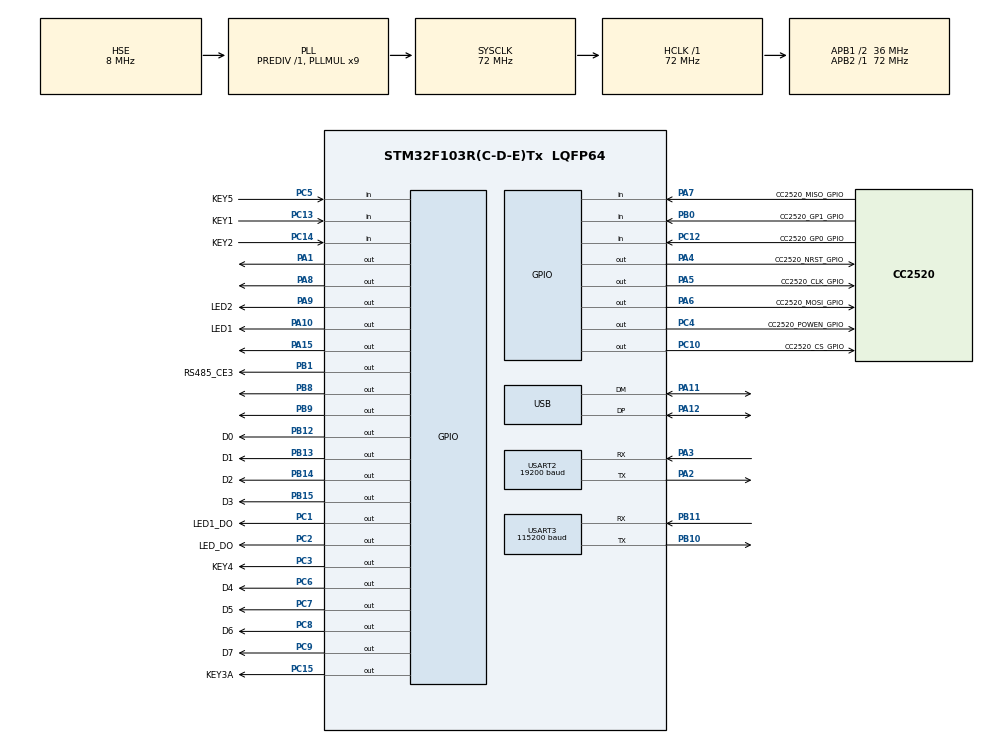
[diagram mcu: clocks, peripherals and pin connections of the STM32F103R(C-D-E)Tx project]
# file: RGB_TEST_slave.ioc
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Mcu.Family=STM32F1
Mcu.Name=STM32F103R(C-D-E)Tx
Mcu.Package=LQFP64
NVIC.PriorityGroup=NVIC_PRIORITYGROUP_4
NVIC.TIM2_IRQn=true\:2\:0\:true\:false\:true\:true\:true
NVIC.TIM3_IRQn=true\:0\:0\:false\:false\:true\:true\:true
NVIC.TIM4_IRQn=true\:0\:0\:false\:false\:true\:true\:true
NVIC.USART3_IRQn=true\:0\:0\:false\:false\:true\:true\:true
PA1.Signal=GPIO_Output
PA10.GPIO_Label=LED1
PA10.Signal=GPIO_Output
PA11.Mode=Device
PA11.Signal=USB_DM
PA12.Mode=Device
PA12.Signal=USB_DP
PA13.Mode=Serial_Wire
PA13.Signal=SYS_JTMS-SWDIO
PA14.Mode=Serial_Wire
PA14.Signal=SYS_JTCK-SWCLK
PA15.Signal=GPIO_Output
PA2.Mode=Asynchronous
PA2.Signal=USART2_TX
PA3.Mode=Asynchronous
PA3.Signal=USART2_RX
PA4.GPIO_Label=CC2520_NRST_GPIO
PA4.GPIO_Speed=GPIO_SPEED_FREQ_HIGH
PA4.PinState=GPIO_PIN_SET
PA4.Signal=GPIO_Output
PA5.GPIO_Label=CC2520_CLK_GPIO
PA5.GPIO_Speed=GPIO_SPEED_FREQ_HIGH
PA5.PinState=GPIO_PIN_SET
PA5.Signal=GPIO_Output
PA6.GPIO_Label=CC2520_MOSI_GPIO
PA6.GPIO_Speed=GPIO_SPEED_FREQ_HIGH
PA6.PinState=GPIO_PIN_SET
PA6.Signal=GPIO_Output
PA7.GPIO_Label=CC2520_MISO_GPIO
PA7.Signal=GPIO_Input
PA8.Signal=GPIO_Output
PA9.GPIO_Label=LED2
PA9.Signal=GPIO_Output
PB0.GPIO_Label=CC2520_GP1_GPIO
PB0.GPIO_PuPd=GPIO_NOPULL
PB0.Signal=GPIO_Input
PB1.GPIO_Label=RS485_CE3
PB1.GPIO_Speed=GPIO_SPEED_FREQ_HIGH
PB1.PinState=GPIO_PIN_SET
PB1.Signal=GPIO_Output
PB10.Mode=Asynchronous
PB10.Signal=USART3_TX
PB11.Mode=Asynchronous
PB11.Signal=USART3_RX
PB12.GPIO_Label=D0
PB12.GPIO_Speed=GPIO_SPEED_FREQ_HIGH
PB12.PinState=GPIO_PIN_SET
PB12.Signal=GPIO_Output
PB13.GPIO_Label=D1
PB13.GPIO_Speed=GPIO_SPEED_FREQ_HIGH
PB13.PinState=GPIO_PIN_SET
PB13.Signal=GPIO_Output
PB14.GPIO_Label=D2
PB14.GPIO_Speed=GPIO_SPEED_FREQ_HIGH
PB14.PinState=GPIO_PIN_SET
PB14.Signal=GPIO_Output
PB15.GPIO_Label=D3
PB15.GPIO_Speed=GPIO_SPEED_FREQ_HIGH
PB15.PinState=GPIO_PIN_SET
PB15.Signal=GPIO_Output
PB8.Signal=GPIO_Output
PB9.Signal=GPIO_Output
PC1.GPIO_Label=LED1_DO
PC1.GPIO_Speed=GPIO_SPEED_FREQ_HIGH
PC1.PinState=GPIO_PIN_SET
PC1.Signal=GPIO_Output
PC10.GPIO_Label=CC2520_CS_GPIO
PC10.GPIO_Speed=GPIO_SPEED_FREQ_HIGH
PC10.PinState=GPIO_PIN_SET
PC10.Signal=GPIO_Output
PC12.GPIO_Label=CC2520_GP0_GPIO
PC12.GPIO_PuPd=GPIO_NOPULL
PC12.Signal=GPIO_Input
PC13-TAMPER-RTC.GPIO_Label=KEY1
PC13-TAMPER-RTC.Signal=GPIO_Input
PC14-OSC32_IN.GPIO_Label=KEY2
PC14-OSC32_IN.Signal=GPIO_Input
PC15-OSC32_OUT.GPIO_Label=KEY3A
PC15-OSC32_OUT.GPIO_Speed=GPIO_SPEED_FREQ_HIGH
PC15-OSC32_OUT.PinState=GPIO_PIN_SET
PC15-OSC32_OUT.Signal=GPIO_Output
PC2.GPIO_Label=LED_DO
PC2.GPIO_Speed=GPIO_SPEED_FREQ_HIGH
PC2.PinState=GPIO_PIN_SET
PC2.Signal=GPIO_Output
PC3.GPIO_Label=KEY4
PC3.GPIO_Speed=GPIO_SPEED_FREQ_HIGH
PC3.PinState=GPIO_PIN_SET
PC3.Signal=GPIO_Output
PC4.GPIO_Label=CC2520_POWEN_GPIO
PC4.Signal=GPIO_Output
PC5.GPIO_Label=KEY5
PC5.Signal=GPIO_Input
PC6.GPIO_Label=D4
PC6.GPIO_Speed=GPIO_SPEED_FREQ_HIGH
PC6.PinState=GPIO_PIN_SET
PC6.Signal=GPIO_Output
PC7.GPIO_Label=D5
PC7.GPIO_Speed=GPIO_SPEED_FREQ_HIGH
PC7.PinState=GPIO_PIN_SET
PC7.Signal=GPIO_Output
PC8.GPIO_Label=D6
PC8.GPIO_Speed=GPIO_SPEED_FREQ_HIGH
PC8.PinState=GPIO_PIN_SET
PC8.Signal=GPIO_Output
PC9.GPIO_Label=D7
PC9.GPIO_Speed=GPIO_SPEED_FREQ_HIGH
PC9.PinState=GPIO_PIN_SET
PC9.Signal=GPIO_Output
PD0-OSC_IN.Mode=HSE-External-Oscillator
PD0-OSC_IN.Signal=RCC_OSC_IN
PD1-OSC_OUT.Mode=HSE-External-Oscillator
PD1-OSC_OUT.Signal=RCC_OSC_OUT
ProjectManager.HeapSize=0x200
ProjectManager.StackSize=0x400
ProjectManager.TargetToolchain=STM32CubeIDE
RCC.AHBFreq_Value=72000000
RCC.APB1CLKDivider=RCC_HCLK_DIV2
RCC.APB1Freq_Value=36000000
RCC.APB1TimFreq_Value=72000000
RCC.APB2Freq_Value=72000000
RCC.APB2TimFreq_Value=72000000
RCC.HCLKFreq_Value=72000000
RCC.PLLMUL=RCC_PLL_MUL9
RCC.PLLSourceVirtual=RCC_PLLSOURCE_HSE
RCC.SYSCLKFreq_VALUE=72000000
RCC.SYSCLKSource=RCC_SYSCLKSOURCE_PLLCLK
RCC.USBFreq_Value=48000000
RCC.USBPrescaler=RCC_USBCLKSOURCE_PLL_DIV1_5
TIM2.Period=200-1
TIM2.Prescaler=7200-1
TIM3.Period=200-1
TIM3.Prescaler=7200-1
TIM4.Period=200-1
TIM4.Prescaler=7200-1
TIM5.Period=200-1
TIM5.Prescaler=7200-1
USART2.BaudRate=19200
USART2.VirtualMode=VM_ASYNC
USART3.BaudRate=115200
USART3.VirtualMode=VM_ASYNC
VP_TIM2_VS_ClockSourceINT.Mode=Internal
VP_TIM3_VS_ClockSourceINT.Mode=Internal
VP_TIM4_VS_ClockSourceINT.Mode=Internal
VP_TIM5_VS_ClockSourceINT.Mode=Internal
board=custom

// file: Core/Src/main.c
/* USER CODE BEGIN Header */
/**
  ******************************************************************************
  * @file           : main.c
  * @brief          : Main program body
  ******************************************************************************
  * @attention
  *
  * <h2><center>&copy; Copyright (c) 2020 STMicroelectronics.
  * All rights reserved.</center></h2>
  *
  * This software component is licensed by ST under BSD 3-Clause license,
  * the "License"; You may not use this file except in compliance with the
  * License. You may obtain a copy of the License at:
  *                        opensource.org/licenses/BSD-3-Clause
  *
  ******************************************************************************
  */
/* USER CODE END Header */

#include "main.h"
#include "tim.h"
#include "usart.h"
#include "usb.h"
#include "gpio.h"

/* USER CODE BEGIN Includes */
#include "main.h"
#include "tim.h"
#include "usart.h"
#include "usb.h"
#include "gpio.h"
#include "CC2520.h"

#define KEY1_1 (GPIO_ReadInputDataBit(GPIOC, GPIO_Pin_13)==1)    //Êý¾ÝÊäÈë
#define KEY1_0 (GPIO_ReadInputDataBit(GPIOC, GPIO_Pin_13)==0)    //Êý¾ÝÊäÈë

#define KEY2_1 (GPIO_ReadInputDataBit(GPIOC, GPIO_Pin_14)==1)    //Êý¾ÝÊäÈë
#define KEY2_0 (GPIO_ReadInputDataBit(GPIOC, GPIO_Pin_14)==0)    //Êý¾ÝÊäÈë

#define SET_KEY3_1   GPIOC->ODR|=1<<15
#define SET_KEY3_0   GPIOC->ODR&=(~(1<<15))

#define SET_KEY4_1   GPIOC->ODR|=1<<3
#define SET_KEY4_0   GPIOC->ODR&=(~(1<<3))
/* USER CODE END Includes */

/* USER CODE BEGIN PTD */
/* Private variables ---------------------------------------------------------*/

uint8_t aTxStartMessage[10] ={0X55,0X55,0X55,0X55,0X55,0XAA,0XAA,0XAA,0XAA,0XAA};
uint8_t Send_buf[8] = {0} ;
uint8_t Rx_count_UART1,Rx_count_UART2,Rx_count_UART3,Rx_count_UART4;
uint8_t Rxbuff1[32],Rxbuff2[32],Rxbuff3[200];
uint8_t Rxbuff4[13]={0X55,0XAA,0X55,0X55,0X55,0XAA,0XAA,0XAA,0XAA,0XAA,0XAA,0XAA,0XA5};
/* Buffer used for reception */
uint8_t aRxBuffer[32],bRxBuffer[200],cRxBuffer[200],dRxBuffer[13];
uint8_t Rx_Num_UART1,Rx_Num_UART2,Rx_Num_UART3,Rx_Num_UART4;
uint8_t TX_LEN,Rx_LEN;
uint8_t R_BIT,G_BIT,B_BIT,i,j=0,delta_RG,delta_GB,delta_BX;
uint8_t R_DATA[3],G_DATA[3],B_DATA[3];
void IOT_PROCESS(void);

uint8_t TX_BUFF_WENXIN[7]={0XA5,0X5A,0X03,0X02,0X01,0X01,0X06};

volatile	_byte8	g_u8Flag1,g_u8Flag2;
/* USER CODE END PTD */

/* USER CODE BEGIN PD */
/* Private variables ---------------------------------------------------------*/
TIM_HandleTypeDef htim1;
TIM_HandleTypeDef htim2;
TIM_HandleTypeDef htim3;
TIM_HandleTypeDef htim4;
TIM_HandleTypeDef htim5;
TIM_HandleTypeDef htim6;

UART_HandleTypeDef huart4;
UART_HandleTypeDef huart1;
UART_HandleTypeDef huart2;
UART_HandleTypeDef huart3;

/* USER CODE END PD */

/* USER CODE BEGIN PM */
extern const unsigned char gImage_Peaks_logo[40968];
extern const unsigned char gImage_3[216];
extern const unsigned char gImage_8[216];
extern const unsigned char gImage_9[216];
/* USER CODE END PM */

void SystemClock_Config(void);
/* USER CODE BEGIN PFP */
uint8_t tim2_counter;
uint16_t time_1ms;
/* USER CODE END PFP */

/* USER CODE BEGIN 0 */

typedef uint8_t u8;
typedef uint32_t u32;
u8 fac_us;

void delay_init(u8 SYSCLK)
{
    #if SYSTEM_SUPPORT_OS
        u32 reload;
    #endif

    HAL_SYSTICK_CLKSourceConfig(SYSTICK_CLKSOURCE_HCLK);
    //SysTick  HCLK
    fac_us=SYSCLK;              // OS,fac_us

    #if SYSTEM_SUPPORT_OS       // OS.
        reload=SYSCLK;
        reload*=1000000/delay_ostickspersec;    //delay_ostickspersec
        //reload 24Bit 16777216, 180M 0.745s
        fac_ms=1000/delay_ostickspersec;        // OS.
        SysTick->CTRL|=SysTick_CTRL_TICKINT_Msk;// SYSTICK
        SysTick->LOAD=reload;                   // 1/OS_TICKS_PER_SEC
        SysTick->CTRL|=SysTick_CTRL_ENABLE_Msk; // SYSTICK
        #else
    #endif
}

void delay_us1(u32 nus)
{
    u32 ticks;
    u32 told,tnow,tcnt=0;
    u32 reload=SysTick->LOAD;                   //LOAD
    ticks=nus*fac_us;
    told=SysTick->VAL;
    while(1)
    {
        tnow=SysTick->VAL;
        if(tnow!=told)
        {
            if(tnow<told)tcnt+=told-tnow;       // SYSTICK.
            else tcnt+=reload-tnow+told;
            told=tnow;
            if(tcnt>=ticks)break;
        }
    }
}
uint8	g_u8Time20ms_1,g_u8Time20ms_2,g_u8Time20ms_3,g_u8Time20ms_4,g_u8Time20ms_5,g_u8Time20ms_6,g_u8Time20ms_7;
uint16_t time3_20ms=0;
uint16_t cc2520_rx_cycle;
//uchar fre_set,fre_set_temp, fre_set_change ;
/* USER CODE END 0 */

int main(void)
{
  /* USER CODE BEGIN 1 */
	//uint16_t i;
  /* USER CODE END 1 */

  /* MCU Configuration--------------------------------------------------------*/

  /* Reset of all peripherals, Initializes the Flash interface and the Systick. */
  HAL_Init();

  /* Configure the system clock */
  SystemClock_Config();

  /* Initialize all configured peripherals */
  MX_GPIO_Init();
  MX_TIM2_Init();
  MX_TIM4_Init();
  MX_USART2_UART_Init();
  MX_USART3_UART_Init();
  MX_TIM3_Init();
  MX_USB_PCD_Init();
  MX_TIM5_Init();
  /* USER CODE BEGIN 2 */
  //HAL_TIM_Base_Start_IT(&htim2);
  HAL_TIM_Base_Start_IT(&htim3);
  HAL_TIM_Base_Start_IT(&htim4);
  RR=0; GG=0; BB=0;
  FLAG_RECEIVE_OK1=1;
  fre_set=0;
  HAL_UART_Receive_IT(&huart3,(uint8_t *)cRxBuffer,13); //
 // delay_init(72);

  reset_ws2812();
  reset_ws2812_1();
  RGB_close1();
  RGB_close();
  /*
  HAL_GPIO_WritePin(RS485_CE3_GPIO_Port, RS485_CE3_Pin, GPIO_PIN_SET);
  HAL_Delay(2);//延时大概 1mS

  HAL_UART_Transmit_IT(&huart3, (uint8_t *)TX_BUFF_WENXIN, sizeof(TX_BUFF_WENXIN)); //发�?�此帧数�???????????????????????????????????????
	while(HAL_UART_Transmit_IT(&huart3, (uint8_t *)TX_BUFF_WENXIN, sizeof(TX_BUFF_WENXIN))!=HAL_OK)
	{
		;
	}
	*/
  lcd_init();
  TFT_Disp128160(gImage_Peaks_logo);
	  HAL_GPIO_WritePin(RS485_CE3_GPIO_Port, RS485_CE3_Pin, GPIO_PIN_RESET);

	  HAL_Delay(1);//延时大概 1mS
	  CC2520_GPIO_Config();
	  //--------------------------SPI初始化函�??????---------------------------
		CC2520_SPI_Init();
		CC2520_Init(0);
		//CC2520_SetRxMode();		//设置为接收模式
		//CC2520_Command(CMD_SXOSCOFF);
		//CC2520_IntoActMode_Init();
	 // CC2520_Init(0);
	  flag_CC2520_Search=0;

/*
	  RR=0;
	  GG=255;
	  BB=0;
	  send_string_data1();
	  */
  /* USER CODE END 2 */

  /* Infinite loop */
  while (1)
  {

    /* USER CODE BEGIN 3 */
		if(CC2520_RxPacket())		//判断RF2520接收
		{
			//time_cc2520_no_rx=0;
			CC2520_ReadRXFIFO();	//数据接收
			cc2520_data_load();
		}

		if(flag_CC2520_Search)
		{
			flag_CC2520_Search=0;
			CC2520_Search();
		}

	  /*
		if((cc2520_rx_cycle>685))		//连续周期10s
		{
			cc2520_rx_cycle=0;
			//CC2520_Command(CMD_SXOSCON);	//zigbee晶振�??�??
			//HAL_Delay(1);
			temp_send();
			HAL_GPIO_TogglePin(LED1_GPIO_Port, LED1_Pin);

			//HAL_Delay(1000);
			//POWER_OFF_CC2520();
		}
		*/
		/*
		if(time_cc2520_no_rx>1000)	//连续20s未接收到，初始化CC2520
		{
			time_cc2520_no_rx=0;
			CC2520_SPI_Init();
			HAL_Delay(10);
			CC2520_Init(fre_set);
			CC2520_IntoActMode_Init();
			CC2520_SetRxMode();		//设置为接收模�??????
		}
		*/
      if(FLAG_RECEIVE_OK)
      {
    	  FLAG_RECEIVE_OK=0;
	      HAL_GPIO_WritePin(GPIOB, RS485_CE3_Pin, GPIO_PIN_SET);
	      HAL_Delay(2);//延时大概 1mS
    	  IOT_PROCESS();	//IOT处理进程
        //HAL_UART_Transmit(&huart2,TX_BUFF_WENXIN,TX_LEN,0xffff);    //发�?�接收到的数�?????????????????????????????????????
    	  /*
    	if(FLAG_RECEIVE_OK1)
    	{
    		FLAG_RECEIVE_OK1=0;

    		HAL_UART_Transmit_IT(&huart3, (uint8_t *)TX_BUFF_WENXIN, sizeof(TX_BUFF_WENXIN)); //发�?�此帧数�???????????????????????????????????????
			while(HAL_UART_Transmit_IT(&huart3, (uint8_t *)TX_BUFF_WENXIN, sizeof(TX_BUFF_WENXIN))!=HAL_OK)
			{
				;
			}
			*/
    	//}

		  HAL_GPIO_WritePin(GPIOB, RS485_CE3_Pin, GPIO_PIN_RESET);
		  HAL_Delay(1);//延时大概 1mS

      }
     // RGB_open();
     // RGB_PWM();
     // RGB_open1();
     // RGB_PWM1();

  }
  /* USER CODE END 3 */
}

void SystemClock_Config(void)
{
  RCC_OscInitTypeDef RCC_OscInitStruct = {0};
  RCC_ClkInitTypeDef RCC_ClkInitStruct = {0};
  RCC_PeriphCLKInitTypeDef PeriphClkInit = {0};

  /** Initializes the CPU, AHB and APB busses clocks
  */
  RCC_OscInitStruct.OscillatorType = RCC_OSCILLATORTYPE_HSE;
  RCC_OscInitStruct.HSEState = RCC_HSE_ON;
  RCC_OscInitStruct.HSEPredivValue = RCC_HSE_PREDIV_DIV1;
  RCC_OscInitStruct.HSIState = RCC_HSI_ON;
  RCC_OscInitStruct.PLL.PLLState = RCC_PLL_ON;
  RCC_OscInitStruct.PLL.PLLSource = RCC_PLLSOURCE_HSE;
  RCC_OscInitStruct.PLL.PLLMUL = RCC_PLL_MUL9;
  if (HAL_RCC_OscConfig(&RCC_OscInitStruct) != HAL_OK)
  {
    Error_Handler();
  }
  /** Initializes the CPU, AHB and APB busses clocks
  */
  RCC_ClkInitStruct.ClockType = RCC_CLOCKTYPE_HCLK|RCC_CLOCKTYPE_SYSCLK
                              |RCC_CLOCKTYPE_PCLK1|RCC_CLOCKTYPE_PCLK2;
  RCC_ClkInitStruct.SYSCLKSource = RCC_SYSCLKSOURCE_PLLCLK;
  RCC_ClkInitStruct.AHBCLKDivider = RCC_SYSCLK_DIV1;
  RCC_ClkInitStruct.APB1CLKDivider = RCC_HCLK_DIV2;
  RCC_ClkInitStruct.APB2CLKDivider = RCC_HCLK_DIV1;

  if (HAL_RCC_ClockConfig(&RCC_ClkInitStruct, FLASH_LATENCY_2) != HAL_OK)
  {
    Error_Handler();
  }
  PeriphClkInit.PeriphClockSelection = RCC_PERIPHCLK_USB;
  PeriphClkInit.UsbClockSelection = RCC_USBCLKSOURCE_PLL_DIV1_5;
  if (HAL_RCCEx_PeriphCLKConfig(&PeriphClkInit) != HAL_OK)
  {
    Error_Handler();
  }
}

/* USER CODE BEGIN 4 */

void HAL_TIM_PeriodElapsedCallback(TIM_HandleTypeDef *htim)
{

	if (htim->Instance == htim2.Instance)
	{
		FLAG_RECEIVE_OK = 1;	//断帧机制   20ms没接收到数据，判断为1 �????????????

		Rx_LEN=Rx_count_UART3;
		Rx_count_UART3=0;
		HAL_TIM_Base_Stop_IT(&htim2);//关闭定时
	}
	if (htim->Instance == htim3.Instance)
	{
		cc2520_rx_cycle++;
		time_cc2520_no_rx++;
		time_delay++;
		time3_20ms++;
		if(time3_20ms>25)
		{
			time3_20ms=0;
			if(flag_cc2520_ok)
			{
				HAL_GPIO_TogglePin(LED1_GPIO_Port, LED1_Pin);
			}
		}

		SET_KEY3_0;
		SET_KEY4_1;
		//asm("nop");asm("nop");
		  if(HAL_GPIO_ReadPin(KEY1_GPIO_Port, KEY1_Pin)==0)	//SW1
		  {
			  g_u8Time20ms_1++;
			  if(g_u8Time20ms_1>1)
			  {
				  g_u8Time20ms_1=3;
				  key1_in_Flag=1;
			  }
		  }
		  else
		  {
			  g_u8Time20ms_1=0;
			  if(key1_in_Flag)
			  {
				  key1_in_Flag=0;
				  RR=25; GG=0; BB=0;
				 // HAL_GPIO_TogglePin(LED1_GPIO_Port, LED1_Pin);
				  ID_ARM_UP_A[5]=0x01;
				  send_string_data();
				  send_string_data1();
				  //send_image(gImage_8);
			  }
		  }
		  if(HAL_GPIO_ReadPin(KEY2_GPIO_Port, KEY2_Pin)==0)	//SW3
		  {
			  g_u8Time20ms_2++;
			  if(g_u8Time20ms_2>1)
			  {
				  g_u8Time20ms_2=3;
				  key2_in_Flag=1;
			  }
		  }
		  else
		  {
			  g_u8Time20ms_2=0;
			  if(key2_in_Flag)
			  {
				  key2_in_Flag=0;
				  ID_ARM_UP_A[5]=0x03;
				  //send_image(gImage_9);
				  RR=0; GG=0; BB=25;
				  send_string_data();
				  send_string_data1();
			  }
		  }

		SET_KEY3_1;
		SET_KEY4_0;
		//asm("nop");asm("nop");
		  if(HAL_GPIO_ReadPin(KEY1_GPIO_Port, KEY1_Pin)==0)	//SW2
		  {
			  g_u8Time20ms_3++;
			  if(g_u8Time20ms_3>1)
			  {
				  g_u8Time20ms_3=3;
				  key3_in_Flag=1;
			  }
		  }
		  else
		  {
			  g_u8Time20ms_3=0;
			  if(key3_in_Flag)
			  {
				  key3_in_Flag=0;
				  ID_ARM_UP_A[5]=0x02;
				 // send_image(gImage_8);
				  RR=0; GG=25; BB=0;
				  send_string_data();
				  send_string_data1();
			  }
		  }
		  if(HAL_GPIO_ReadPin(KEY2_GPIO_Port, KEY2_Pin)==0)	//SW4
		  {
			  g_u8Time20ms_4++;
			  if(g_u8Time20ms_4>1)
			  {
				  g_u8Time20ms_4=3;
				  key4_in_Flag=1;
			  }
		  }
		  else
		  {
			  g_u8Time20ms_4=0;
			  if(key4_in_Flag)
			  {
				  key4_in_Flag=0;
				  ID_ARM_UP_A[5]=0x04;
				  //send_image(gImage_9);
				  RR=25; GG=25; BB=25;
				  send_string_data();
				  send_string_data1();
			  }
		  }
		  if(HAL_GPIO_ReadPin(KEY5_GPIO_Port, KEY5_Pin)==0)
		  {
			  g_u8Time20ms_5++;
			  if(g_u8Time20ms_5>1)
			  {
				  g_u8Time20ms_5=3;
				  key5_in_Flag=1;
			  }
		  }
		  else
		  {
			  g_u8Time20ms_5=0;
			  if(key5_in_Flag)
			  {
				  key5_in_Flag=0;
				  ID_ARM_UP_A[5]=0x05;
				  RR=0; GG=0; BB=0;
				  send_string_data();
				  send_string_data1();
				  //send_image(gImage_3);
				  /*
				  RR=255;GG=255;BB=255;
				  toggle_Flag=~toggle_Flag;
					if(toggle_Flag)
					{
						send_string_data_LK_V();
					}
					else
					{
						send_string_data_LK_H();
					}
					*/
			  }
		  }
	}
	if (htim->Instance == htim4.Instance)
	{
		////HAL_GPIO_TogglePin(LED_DO_GPIO_Port, LED_DO_Pin);
		////HAL_GPIO_TogglePin(LED1_GPIO_Port, LED1_Pin);
    	if(FLAG_RECEIVE_OK1)
    	{
    		FLAG_RECEIVE_OK1=0;
    		send_string_data1();
    		//send_string_data_LK_H();

    		/*
    		if(toggle_Flag)
    		{
    			send_string_data_LK_V();
    		}
    		else
    		{
    			send_string_data_LK_H();
    		}
    		toggle_Flag=~toggle_Flag;
    		*/
    		//send_string_data1();
    		//send_string_data1();
    		//send_string_data1();
    	}
	}
}

/**
  * @brief Rx Transfer completed callbacks
  * @param huart: uart handle
  * @retval None
  */
void HAL_UART_RxCpltCallback(UART_HandleTypeDef *huart)
{
  /* Prevent unused argument(s) compilation warning */
  UNUSED(huart);

  /* NOTE : This function should not be modified, when the callback is needed,
            the HAL_UART_RxCpltCallback can be implemented in the user file
   */
    //HAL_UART_Transmit(&huart1, (uint8_t *)aRxBuffer, 10,0xFFFF);
  if(huart==&huart1)
  {

  }

  if(huart==&huart3)
  {
		__HAL_TIM_SET_COUNTER(&htim2,0);
		Rxbuff3[Rx_count_UART3++] = cRxBuffer[0];
		if((Rxbuff3[0]=='R'))
		{
			__HAL_TIM_CLEAR_FLAG(&htim2,TIM_FLAG_UPDATE);
			HAL_TIM_Base_Start_IT(&htim2);
			//HAL_GPIO_TogglePin(LED1_GPIO_Port, LED1_Pin);
		}
		else
		{
			__HAL_TIM_SET_COUNTER(&htim2,0);
			__HAL_TIM_CLEAR_FLAG(&htim2,TIM_FLAG_UPDATE);
			HAL_TIM_Base_Start_IT(&htim2);
			Rx_count_UART3=0;
		}
		/*
		if(Rx_count_UART3>=7)
		{
		  Rx_count_UART3=0;
		}
		*/
		HAL_UART_Receive_IT(&huart3,(uint8_t *)cRxBuffer,1);

  }

}
/******************************************/
void IOT_PROCESS(void)
{
	//if((Rxbuff3[0]=='R'))
    if((Rxbuff3[0]=='R')&&(Rxbuff3[Rx_LEN-1]=='*'))
    {
       FLAG_RECEIVE_OK1=1;
       for(i=0;i<Rx_LEN-1;i++)
       {
    	   if(Rxbuff3[i]=='R')
    	   {
    		   R_BIT=i;
    	   }
    	   else if(Rxbuff3[i]=='G')
    	   {
    		   G_BIT=i;
    	   }
    	   else if(Rxbuff3[i]=='B')
    	   {
    		   B_BIT=i;
    	   }
       }
       delta_RG=G_BIT-R_BIT-1;
       delta_GB=B_BIT-G_BIT-1;
       delta_BX=Rx_LEN-B_BIT-1-1;
       switch (delta_RG)
       {
           case 0x01:
           {
        	   RR=Rxbuff3[G_BIT-1]-0X30;
           }break;
           case 0x02:
           {
        	   RR=(Rxbuff3[G_BIT-1]-0X30)+(Rxbuff3[G_BIT-2]-0X30)*10;
           }break;
           case 0x03:
           {
        	   RR=(Rxbuff3[G_BIT-1]-0X30)+(Rxbuff3[G_BIT-2]-0X30)*10+(Rxbuff3[G_BIT-3]-0X30)*100;
           }break;
       }
       switch (delta_GB)
       {
           case 0x01:
           {
        	   GG=Rxbuff3[B_BIT-1]-0X30;
           }break;
           case 0x02:
           {
        	   GG=(Rxbuff3[B_BIT-1]-0X30)+(Rxbuff3[B_BIT-2]-0X30)*10;
           }break;
           case 0x03:
           {
        	   GG=(Rxbuff3[B_BIT-1]-0X30)+(Rxbuff3[B_BIT-2]-0X30)*10+(Rxbuff3[B_BIT-3]-0X30)*100;
           }break;
       }
       switch (delta_BX)
       {
           case 0x01:
           {
        	   BB=Rxbuff3[Rx_LEN-1-1]-0X30;
           }break;
           case 0x02:
           {
        	   BB=(Rxbuff3[Rx_LEN-1-1]-0X30)+(Rxbuff3[Rx_LEN-1-2]-0X30)*10;
           }break;
           case 0x03:
           {
        	   BB=(Rxbuff3[Rx_LEN-1-1]-0X30)+(Rxbuff3[Rx_LEN-1-2]-0X30)*10+(Rxbuff3[Rx_LEN-1-3]-0X30)*100;
           }break;
       }

       TX_BUFF_WENXIN[0]=RR;
       TX_BUFF_WENXIN[1]=GG;
       TX_BUFF_WENXIN[2]=BB;

    }
	else
	{
		Rx_count_UART3=0;
		FLAG_RECEIVE_OK1=0;
	}
}
/*
 * IOT.C
 *
 *  Created on: 2019�????????????????????????????????????12�????????????????????????????????????2�????????????????????????????????????
 *      Author: lwj
 */
/* USER CODE END 4 */

void Error_Handler(void)
{
}

/************************ (C) COPYRIGHT STMicroelectronics *****END OF FILE****/
